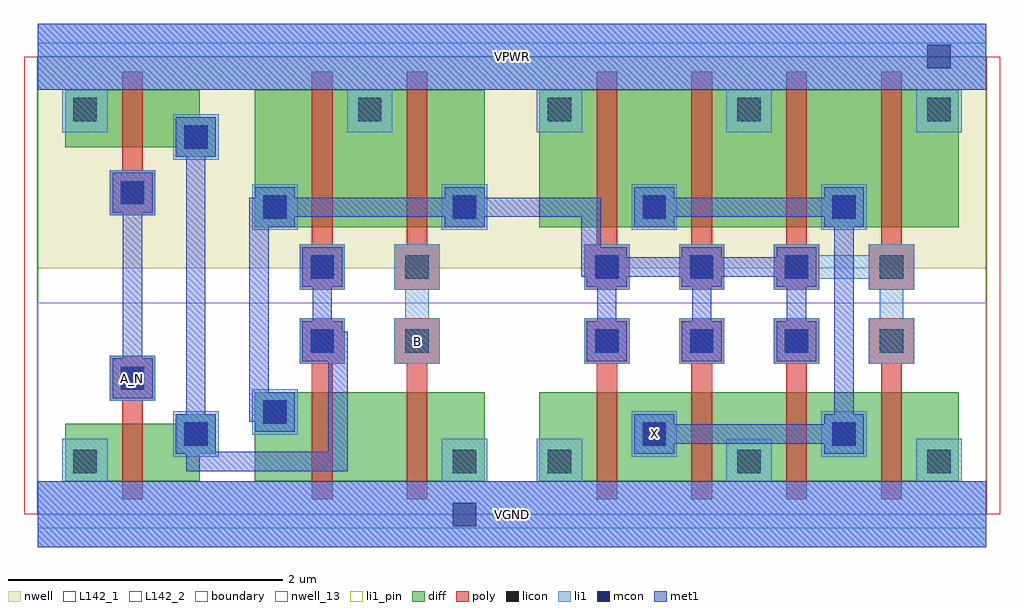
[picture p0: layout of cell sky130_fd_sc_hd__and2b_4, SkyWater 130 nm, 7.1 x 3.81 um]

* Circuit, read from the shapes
.subckt sky130_fd_sc_hd__and2b_4 A_N B VGND VPWR X
XM1 n1 A_N VGND VSUBS sky130_fd_pr__nfet_01v8 w=0.42 l=0.15
XM2 n2 n1 n3 VSUBS sky130_fd_pr__nfet_01v8 w=0.65 l=0.15
XM3 VGND B n2 VSUBS sky130_fd_pr__nfet_01v8 w=0.65 l=0.15
XM4 X n3 VGND VSUBS sky130_fd_pr__nfet_01v8 w=0.65 l=0.15 m=4
XM5 n1 A_N VPWR n4 sky130_fd_pr__pfet_01v8 w=0.42 l=0.15
XM6 VPWR n1 n3 n4 sky130_fd_pr__pfet_01v8 w=1 l=0.15
XM7 n3 B VPWR n4 sky130_fd_pr__pfet_01v8 w=1 l=0.15
XM8 X n3 VPWR n4 sky130_fd_pr__pfet_01v8 w=1 l=0.15 m=4
.ends

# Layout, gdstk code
import gdstk
lib = gdstk.Library(unit=1e-6, precision=1e-09)
def R(c, l, rs):  # rectangles x0, y0, x1, y1
    for r in rs: c.add(gdstk.rectangle(r[:2], r[2:], *l))
def A(c, l, x, y, w, h, nx, ny, dx, dy):  # array of equal rectangles
    R(c, l, [(x+i*dx, y+j*dy, x+i*dx+w, y+j*dy+h) for i in range(nx) for j in range(ny)])
def P(c, l, *ps):  # polygons
    for p in ps: c.add(gdstk.Polygon(p, *l))
nwell_13 = (64, 13)
nwell = (64, 20)
diff = (65, 20)
poly = (66, 20)
licon = (66, 44)
li1_pin = (67, 16)
li1 = (67, 20)
mcon = (67, 44)
met1 = (68, 20)
L142_1 = (142, 1)
L142_2 = (142, 2)
boundary = (235, 4)

sky130_fd_sc_hd__and2b_4 = lib.new_cell('sky130_fd_sc_hd__and2b_4')
R(sky130_fd_sc_hd__and2b_4, nwell_13, [(0,0,6.9,1.54)])
R(sky130_fd_sc_hd__and2b_4, nwell, [(0,1.79,6.9,3.33)])
A(sky130_fd_sc_hd__and2b_4, diff, 4.065, 0.24, 0.69, 0.65, 3, 1, 0.69, 0)
A(sky130_fd_sc_hd__and2b_4, diff, 4.065, 2.09, 0.69, 1, 3, 1, 0.69, 0)
R(sky130_fd_sc_hd__and2b_4, diff, [(0.2,0.24,1.18,0.66), (0.2,0.24,0.615,0.66), (1.58,0.24,3.25,0.89), (1.58,0.24,1.995,0.89), (1.995,0.24,2.685,0.89), (2.685,0.24,3.25,0.89), (3.65,0.24,6.7,0.89), (3.65,0.24,4.065,0.89), (6.135,0.24,6.7,0.89), (1.58,2.09,3.25,3.09), (1.58,2.09,1.995,3.09), (1.995,2.09,2.685,3.09), (2.685,2.09,3.25,3.09), (3.65,2.09,6.7,3.09), (3.65,2.09,4.065,3.09), (6.135,2.09,6.7,3.09), (0.2,2.67,1.18,3.09), (0.2,2.67,0.615,3.09)])
P(sky130_fd_sc_hd__and2b_4, diff, [(0.615,0.24),(0.615,0.66),(1.005,0.66),(1.005,0.73),(1.295,0.73),(1.295,0.44),(1.18,0.44),(1.18,0.24)],
  [(1.005,2.6),(1.005,2.67),(0.615,2.67),(0.615,3.09),(1.18,3.09),(1.18,2.89),(1.295,2.89),(1.295,2.6)])
P(sky130_fd_sc_hd__and2b_4, poly, [(2.685,0.11),(2.685,1.095),(2.595,1.095),(2.595,1.425),(2.925,1.425),(2.925,1.095),(2.835,1.095),(2.835,0.11)],
  [(2.595,1.635),(2.595,1.965),(2.685,1.965),(2.685,3.22),(2.835,3.22),(2.835,1.965),(2.925,1.965),(2.925,1.635)],
  [(4.065,0.11),(4.065,1.095),(3.975,1.095),(3.975,1.425),(4.305,1.425),(4.305,1.095),(4.215,1.095),(4.215,0.11)],
  [(4.755,0.11),(4.755,1.095),(4.665,1.095),(4.665,1.425),(4.995,1.425),(4.995,1.095),(4.905,1.095),(4.905,0.11)],
  [(5.445,0.11),(5.445,1.095),(5.355,1.095),(5.355,1.425),(5.685,1.425),(5.685,1.095),(5.595,1.095),(5.595,0.11)],
  [(6.135,0.11),(6.135,1.095),(6.045,1.095),(6.045,1.425),(6.375,1.425),(6.375,1.095),(6.285,1.095),(6.285,0.11)],
  [(3.975,1.635),(3.975,1.965),(4.065,1.965),(4.065,3.22),(4.215,3.22),(4.215,1.965),(4.305,1.965),(4.305,1.635)],
  [(4.665,1.635),(4.665,1.965),(4.755,1.965),(4.755,3.22),(4.905,3.22),(4.905,1.965),(4.995,1.965),(4.995,1.635)],
  [(5.355,1.635),(5.355,1.965),(5.445,1.965),(5.445,3.22),(5.595,3.22),(5.595,1.965),(5.685,1.965),(5.685,1.635)],
  [(6.045,1.635),(6.045,1.965),(6.135,1.965),(6.135,3.22),(6.285,3.22),(6.285,1.965),(6.375,1.965),(6.375,1.635)],
  [(0.615,0.11),(0.615,0.825),(0.525,0.825),(0.525,1.155),(0.855,1.155),(0.855,0.825),(0.765,0.825),(0.765,0.11)],
  [(0.525,2.175),(0.525,2.505),(0.615,2.505),(0.615,3.22),(0.765,3.22),(0.765,2.505),(0.855,2.505),(0.855,2.175)],
  [(1.995,0.11),(1.995,1.095),(1.905,1.095),(1.905,1.425),(2.235,1.425),(2.235,1.095),(2.145,1.095),(2.145,0.11)],
  [(1.905,1.635),(1.905,1.965),(1.995,1.965),(1.995,3.22),(2.145,3.22),(2.145,1.965),(2.235,1.965),(2.235,1.635)])
A(sky130_fd_sc_hd__and2b_4, licon, 3.71, 0.3, 0.17, 0.17, 3, 1, 1.38, 0)
A(sky130_fd_sc_hd__and2b_4, licon, 4.055, 1.175, 0.17, 0.17, 4, 2, 0.69, 0.54)
A(sky130_fd_sc_hd__and2b_4, licon, 1.64, 2.15, 0.17, 0.17, 4, 1, 1.38, 0)
A(sky130_fd_sc_hd__and2b_4, licon, 2.33, 2.86, 0.17, 0.17, 4, 1, 1.38, 0)
R(sky130_fd_sc_hd__and2b_4, licon, [(0.26,0.3,0.43,0.47), (3.02,0.3,3.19,0.47), (1.065,0.5,1.235,0.67), (4.4,0.5,4.57,0.67), (5.78,0.5,5.95,0.67), (1.64,0.66,1.81,0.83), (0.605,0.905,0.775,1.075), (1.985,1.175,2.155,1.345), (2.675,1.175,2.845,1.345), (1.985,1.715,2.155,1.885), (2.675,1.715,2.845,1.885), (0.605,2.255,0.775,2.425), (1.065,2.66,1.235,2.83), (0.26,2.86,0.43,3.03)])
R(sky130_fd_sc_hd__and2b_4, li1_pin, [(0,-0.24,6.9,0.24), (4.32,0.42,4.65,0.75), (0.525,0.825,0.855,1.155), (0,3.09,6.9,3.57)])
P(sky130_fd_sc_hd__and2b_4, li1_pin, [(2.595,1.095),(2.595,1.425),(2.675,1.425),(2.675,1.635),(2.595,1.635),(2.595,1.965),(2.925,1.965),(2.925,1.635),(2.845,1.635),(2.845,1.425),(2.925,1.425),(2.925,1.095)])
A(sky130_fd_sc_hd__and2b_4, li1, 3.975, 1.095, 0.33, 0.33, 3, 1, 0.69, 0)
A(sky130_fd_sc_hd__and2b_4, li1, 1.56, 2.07, 0.33, 0.33, 4, 1, 1.38, 0)
R(sky130_fd_sc_hd__and2b_4, li1, [(0.985,0.42,1.315,0.75), (4.32,0.42,4.65,0.75), (5.7,0.42,6.03,0.75), (1.56,0.58,1.89,0.91), (0.525,0.825,0.855,1.155), (1.905,1.095,2.235,1.425), (1.905,1.635,2.235,1.965), (3.975,1.635,4.305,1.965), (4.665,1.635,4.995,1.965), (0.525,2.175,0.855,2.505), (0.985,2.58,1.315,2.91)])
P(sky130_fd_sc_hd__and2b_4, li1, [(2.595,1.095),(2.595,1.425),(2.675,1.425),(2.675,1.635),(2.595,1.635),(2.595,1.965),(2.925,1.965),(2.925,1.635),(2.845,1.635),(2.845,1.425),(2.925,1.425),(2.925,1.095)],
  [(6.045,1.095),(6.045,1.425),(6.125,1.425),(6.125,1.635),(6.045,1.635),(6.045,1.715),(5.685,1.715),(5.685,1.635),(5.355,1.635),(5.355,1.965),(5.685,1.965),(5.685,1.885),(6.045,1.885),(6.045,1.965),(6.375,1.965),(6.375,1.635),(6.295,1.635),(6.295,1.425),(6.375,1.425),(6.375,1.095)],
  [(0.18,2.78),(0.18,3.09),(0,3.09),(0,3.57),(6.9,3.57),(6.9,3.09),(6.72,3.09),(6.72,2.78),(6.39,2.78),(6.39,3.09),(5.34,3.09),(5.34,2.78),(5.01,2.78),(5.01,3.09),(3.96,3.09),(3.96,2.78),(3.63,2.78),(3.63,3.09),(2.58,3.09),(2.58,2.78),(2.25,2.78),(2.25,3.09),(0.51,3.09),(0.51,2.78)],
  [(0,-0.24),(0,0.24),(0.18,0.24),(0.18,0.55),(0.51,0.55),(0.51,0.24),(2.94,0.24),(2.94,0.55),(3.27,0.55),(3.27,0.24),(3.63,0.24),(3.63,0.55),(3.96,0.55),(3.96,0.24),(5.01,0.24),(5.01,0.55),(5.34,0.55),(5.34,0.24),(6.39,0.24),(6.39,0.55),(6.72,0.55),(6.72,0.24),(6.9,0.24),(6.9,-0.24)])
A(sky130_fd_sc_hd__and2b_4, mcon, 4.055, 1.175, 0.17, 0.17, 3, 2, 0.69, 0.54)
A(sky130_fd_sc_hd__and2b_4, mcon, 1.64, 2.15, 0.17, 0.17, 4, 1, 1.38, 0)
R(sky130_fd_sc_hd__and2b_4, mcon, [(3.02,-0.085,3.19,0.085), (1.065,0.5,1.235,0.67), (4.4,0.5,4.57,0.67), (5.78,0.5,5.95,0.67), (1.64,0.66,1.81,0.83), (0.605,0.905,0.775,1.075), (1.985,1.175,2.155,1.345), (1.985,1.715,2.155,1.885), (0.605,2.255,0.775,2.425), (1.065,2.66,1.235,2.83), (6.47,3.245,6.64,3.415)])
R(sky130_fd_sc_hd__and2b_4, met1, [(0,-0.24,6.9,0.24), (0,3.09,6.9,3.57)])
P(sky130_fd_sc_hd__and2b_4, met1, [(1.58,0.6),(1.58,0.675),(1.54,0.675),(1.54,2.305),(1.58,2.305),(1.58,2.38),(1.87,2.38),(1.87,2.305),(2.96,2.305),(2.96,2.38),(3.25,2.38),(3.25,2.305),(4.095,2.305),(4.095,1.945),(4.285,1.945),(4.285,1.87),(4.685,1.87),(4.685,1.945),(4.975,1.945),(4.975,1.87),(5.375,1.87),(5.375,1.945),(5.665,1.945),(5.665,1.655),(5.59,1.655),(5.59,1.405),(5.665,1.405),(5.665,1.115),(5.375,1.115),(5.375,1.405),(5.45,1.405),(5.45,1.655),(5.375,1.655),(5.375,1.73),(4.975,1.73),(4.975,1.655),(4.9,1.655),(4.9,1.405),(4.975,1.405),(4.975,1.115),(4.685,1.115),(4.685,1.405),(4.76,1.405),(4.76,1.655),(4.685,1.655),(4.685,1.73),(4.285,1.73),(4.285,1.655),(4.21,1.655),(4.21,1.405),(4.285,1.405),(4.285,1.115),(3.995,1.115),(3.995,1.405),(4.07,1.405),(4.07,1.655),(3.995,1.655),(3.995,1.73),(3.955,1.73),(3.955,2.165),(3.25,2.165),(3.25,2.09),(2.96,2.09),(2.96,2.165),(1.87,2.165),(1.87,2.09),(1.68,2.09),(1.68,0.89),(1.87,0.89),(1.87,0.6)],
  [(0.545,0.845),(0.545,1.135),(0.62,1.135),(0.62,2.195),(0.545,2.195),(0.545,2.485),(0.835,2.485),(0.835,2.195),(0.76,2.195),(0.76,1.135),(0.835,1.135),(0.835,0.845)],
  [(1.08,0.315),(1.08,0.44),(1.005,0.44),(1.005,0.73),(1.08,0.73),(1.08,2.6),(1.005,2.6),(1.005,2.89),(1.295,2.89),(1.295,2.6),(1.22,2.6),(1.22,0.73),(1.295,0.73),(1.295,0.455),(2.115,0.455),(2.115,1.115),(1.925,1.115),(1.925,1.405),(2,1.405),(2,1.655),(1.925,1.655),(1.925,1.945),(2.215,1.945),(2.215,1.655),(2.14,1.655),(2.14,1.405),(2.215,1.405),(2.215,1.33),(2.255,1.33),(2.255,0.315)],
  [(4.34,0.44),(4.34,0.73),(4.63,0.73),(4.63,0.655),(5.72,0.655),(5.72,0.73),(5.795,0.73),(5.795,2.09),(5.72,2.09),(5.72,2.165),(4.63,2.165),(4.63,2.09),(4.34,2.09),(4.34,2.38),(4.63,2.38),(4.63,2.305),(5.72,2.305),(5.72,2.38),(6.01,2.38),(6.01,2.09),(5.935,2.09),(5.935,0.73),(6.01,0.73),(6.01,0.44),(5.72,0.44),(5.72,0.515),(4.63,0.515),(4.63,0.44)])
R(sky130_fd_sc_hd__and2b_4, L142_1, [(0,-0.1,6.9,0), (0,3.33,6.9,3.43)])
R(sky130_fd_sc_hd__and2b_4, L142_2, [(-0.1,0,0,3.33), (6.9,0,7,3.33)])
R(sky130_fd_sc_hd__and2b_4, boundary, [(0,0,6.9,3.33)])
sky130_fd_sc_hd__and2b_4.add(gdstk.Label('X', (4.485,0.585), layer=67, texttype=5))
sky130_fd_sc_hd__and2b_4.add(gdstk.Label('B', (2.76,1.26), layer=67, texttype=5))
sky130_fd_sc_hd__and2b_4.add(gdstk.Label('A_N', (0.69,0.99), layer=67, texttype=5))
sky130_fd_sc_hd__and2b_4.add(gdstk.Label('VGND', (3.45,0), layer=67, texttype=5))
sky130_fd_sc_hd__and2b_4.add(gdstk.Label('VPWR', (3.45,3.33), layer=67, texttype=5))
sky130_fd_sc_hd__and2b_4.add(gdstk.Label('VGND', (3.45,0), layer=68, texttype=5))
sky130_fd_sc_hd__and2b_4.add(gdstk.Label('VPWR', (3.45,3.33), layer=68, texttype=5))

lib.write_gds('sky130_fd_sc_hd__and2b_4.gds')
